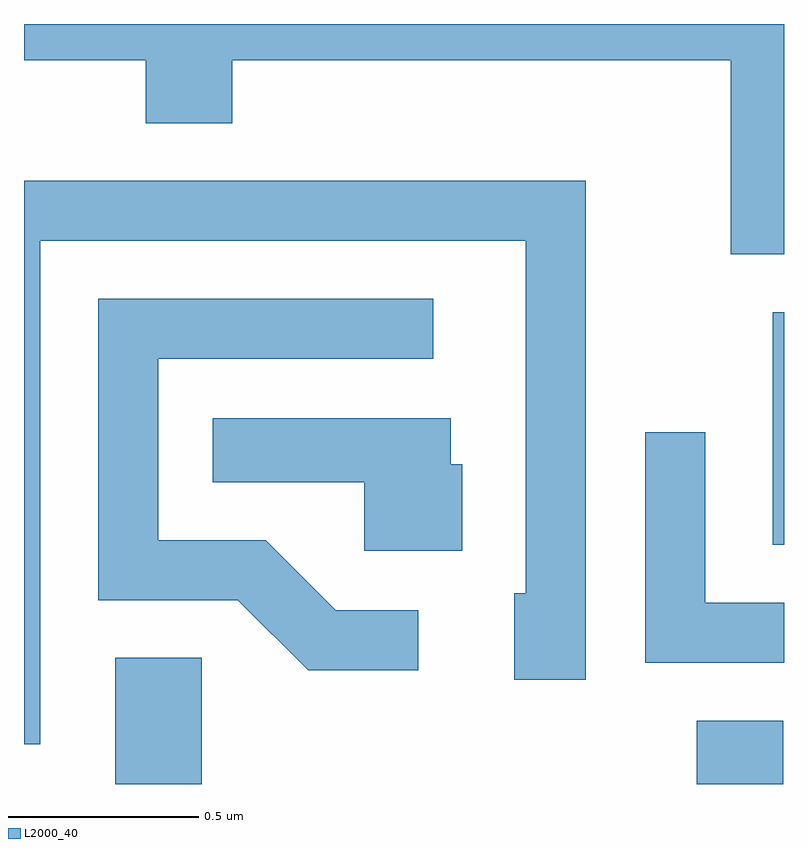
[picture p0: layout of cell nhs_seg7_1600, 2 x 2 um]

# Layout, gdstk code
import gdstk
lib = gdstk.Library(unit=1e-6, precision=1e-09)
def R(c, l, rs):  # rectangles x0, y0, x1, y1
    for r in rs: c.add(gdstk.rectangle(r[:2], r[2:], *l))
def P(c, l, *ps):  # polygons
    for p in ps: c.add(gdstk.Polygon(p, *l))
L2000_40 = (2000, 40)

nhs_seg7_1600 = lib.new_cell('nhs_seg7_1600')
R(nhs_seg7_1600, L2000_40, [(196.851,1761.252,197.079,1761.584), (198.381,1761.252,198.609,1761.419), (198.581,1761.881,198.611,1762.494)])
P(nhs_seg7_1600, L2000_40, [(198.611,1763.252),(196.611,1763.252),(196.611,1763.156),(196.931,1763.156),(196.931,1762.991),(197.159,1762.991),(197.159,1763.156),(198.471,1763.156),(198.471,1762.646),(198.611,1762.646)],
  [(196.654,1762.681),(197.931,1762.681),(197.931,1761.754),(197.901,1761.754),(197.901,1761.526),(198.089,1761.526),(198.089,1762.839),(196.611,1762.839),(196.611,1761.356),(196.654,1761.356)],
  [(197.648,1761.709),(197.432,1761.709),(197.247,1761.894),(196.964,1761.894),(196.964,1762.371),(197.688,1762.371),(197.688,1762.529),(196.806,1762.529),(196.806,1761.736),(197.174,1761.736),(197.359,1761.551),(197.648,1761.551)],
  [(197.764,1762.094),(197.734,1762.094),(197.734,1762.214),(197.108,1762.214),(197.108,1762.046),(197.506,1762.046),(197.506,1761.866),(197.764,1761.866)],
  [(198.611,1761.729),(198.404,1761.729),(198.404,1762.178),(198.246,1762.178),(198.246,1761.571),(198.611,1761.571)])

lib.write_gds('nhs_seg7_1600.gds')
